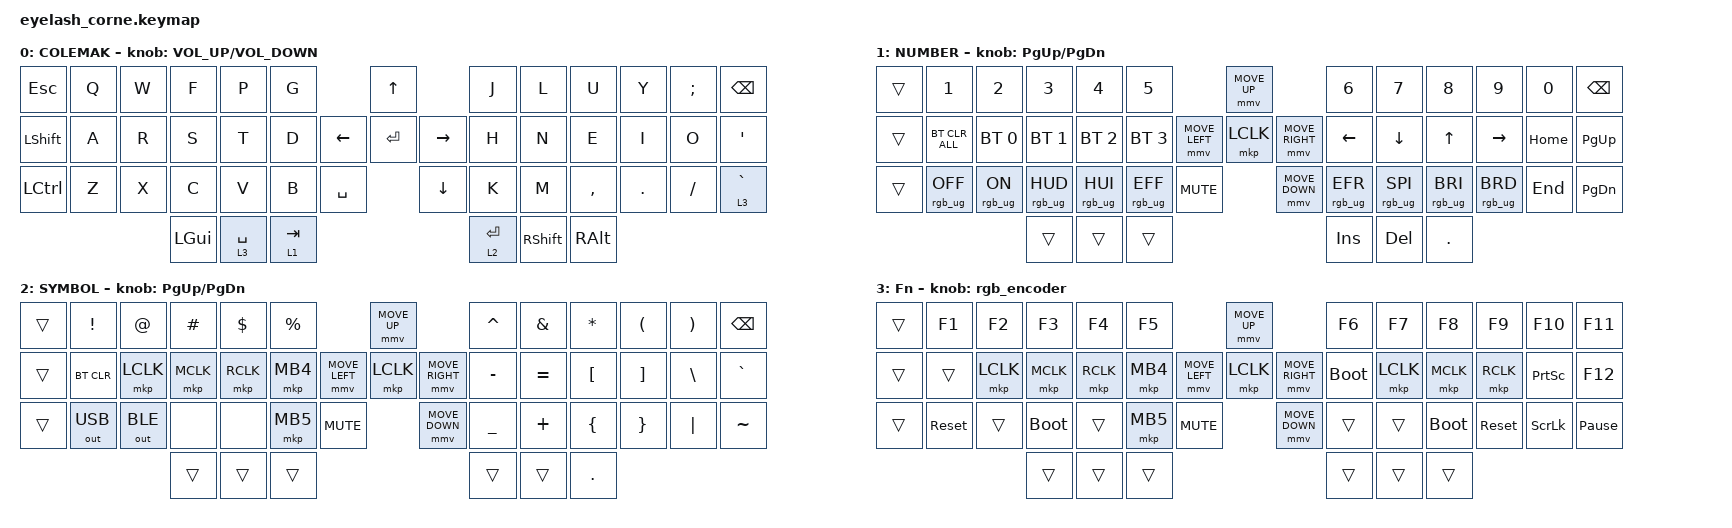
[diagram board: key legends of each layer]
#include <dt-bindings/zmk/mouse.h>
#include <input/processors.dtsi>
#include <behaviors.dtsi>
#include <dt-bindings/zmk/bt.h>
#include <dt-bindings/zmk/keys.h>
#include <dt-bindings/zmk/outputs.h>
#include <dt-bindings/zmk/pointing.h>
#include <dt-bindings/zmk/pointing.h>
#include <dt-bindings/zmk/pointing.h>
#include <dt-bindings/zmk/rgb.h>

/*

   &mmv_input_listener {
       input-processors = <&zip_xy_scaler 2 1>;
   };

   &msc_input_listener {
       input-processors = <&zip_xy_scaler 2 1>;
   };

 */

#define ZMK_MOUSE_DEFAULT_MOVE_VAL 1200  // 600
#define ZMK_MOUSE_DEFAULT_SCRL_VAL 20    // 10

/ {
    behaviors {
        td0: td0 {
            compatible = "zmk,behavior-tap-dance";
            display-name = "Shift/Caps Lock Tap Dance";
            #binding-cells = <0>;
            bindings = <&kp LEFT_SHIFT>, <&kp CAPS>;
        };
    };

    rgb_encoder: rgb_encoder {
        compatible = "zmk,behavior-sensor-rotate";
        #sensor-binding-cells = <0>;
        bindings = <&rgb_ug RGB_BRI>, <&rgb_ug RGB_BRD>;
    };

    scroll_encoder: scroll_encoder {
        compatible = "zmk,behavior-sensor-rotate";
        #sensor-binding-cells = <0>;
        bindings = <&msc SCRL_DOWN>, <&msc SCRL_UP>;

        tap-ms = <30>;
    };

    keymap {
        compatible = "zmk,keymap";

        default_layer {
            display-name = "COLEMAK";
            bindings = <
&kp ESCAPE      &kp Q  &kp W  &kp F     &kp P        &kp G                             &kp UP                &kp J        &kp L            &kp U      &kp Y    &kp SEMI  &kp BSPC
&kp LEFT_SHIFT  &kp A  &kp R  &kp S     &kp T        &kp D                   &kp LEFT  &kp ENTER  &kp RIGHT  &kp H        &kp N            &kp E      &kp I    &kp O     &kp SQT
&kp LCTRL       &kp Z  &kp X  &kp C     &kp V        &kp B      &kp SPACE              &kp DOWN              &kp K        &kp M            &kp COMMA  &kp DOT  &kp FSLH  &lt 3 GRAVE
                              &kp LGUI  &lt 3 SPACE  &lt 1 TAB                                               &lt 2 ENTER  &kp RIGHT_SHIFT  &kp RALT
            >;

            sensor-bindings = <&inc_dec_kp C_VOLUME_UP C_VOLUME_DOWN>;
        };

        lower_layer {
            display-name = "NUMBER";
            bindings = <
&trans  &kp N1           &kp N2          &kp N3           &kp N4           &kp N5                                         &mmv MOVE_UP                     &kp N6           &kp N7           &kp N8           &kp N9           &kp N0    &kp BSPC
&trans  &bt BT_CLR_ALL   &bt BT_SEL 0    &bt BT_SEL 1     &bt BT_SEL 2     &bt BT_SEL 3                   &mmv MOVE_LEFT  &mkp LCLK       &mmv MOVE_RIGHT  &kp LEFT         &kp DOWN         &kp UP           &kp RIGHT        &kp HOME  &kp PG_UP
&trans  &rgb_ug RGB_OFF  &rgb_ug RGB_ON  &rgb_ug RGB_HUD  &rgb_ug RGB_HUI  &rgb_ug RGB_EFF  &kp C_MUTE                    &mmv MOVE_DOWN                   &rgb_ug RGB_EFR  &rgb_ug RGB_SPI  &rgb_ug RGB_BRI  &rgb_ug RGB_BRD  &kp END   &kp PG_DN
                                         &trans           &trans           &trans                                                                          &kp INS          &kp DEL          &kp PERIOD
            >;

            sensor-bindings = <&inc_dec_kp PG_UP PG_DN>;
        };

        raise_layer {
            display-name = "SYMBOL";
            bindings = <
&trans  &kp EXCL      &kp AT        &kp HASH   &kp DLLR   &kp PRCNT                                &mmv MOVE_UP                     &kp CARET  &kp AMPS   &kp ASTRK   &kp LPAR  &kp RPAR  &kp BSPC
&trans  &bt BT_CLR    &mkp LCLK     &mkp MCLK  &mkp RCLK  &mkp MB4                 &mmv MOVE_LEFT  &mkp LCLK       &mmv MOVE_RIGHT  &kp MINUS  &kp EQUAL  &kp LBKT    &kp RBKT  &kp BSLH  &kp GRAVE
&trans  &out OUT_USB  &out OUT_BLE  &none      &none      &mkp MB5   &kp C_MUTE                    &mmv MOVE_DOWN                   &kp UNDER  &kp PLUS   &kp LBRC    &kp RBRC  &kp PIPE  &kp TILDE
                                    &trans     &trans     &trans                                                                    &trans     &trans     &kp PERIOD
            >;

            sensor-bindings = <&inc_dec_kp PG_UP PG_DN>;
        };

        layer_3 {
            display-name = "Fn";
            bindings = <
&trans  &kp F1      &kp F2     &kp F3       &kp F4     &kp F5                                  &mmv MOVE_UP                     &kp F6       &kp F7     &kp F8       &kp F9      &kp F10          &kp F11
&trans  &trans      &mkp LCLK  &mkp MCLK    &mkp RCLK  &mkp MB4                &mmv MOVE_LEFT  &mkp LCLK       &mmv MOVE_RIGHT  &bootloader  &mkp LCLK  &mkp MCLK    &mkp RCLK   &kp PRINTSCREEN  &kp F12
&trans  &sys_reset  &trans     &bootloader  &trans     &mkp MB5  &kp C_MUTE                    &mmv MOVE_DOWN                   &trans       &trans     &bootloader  &sys_reset  &kp SCROLLLOCK   &kp PAUSE_BREAK
                               &trans       &trans     &trans                                                                   &trans       &trans     &trans
            >;

            sensor-bindings = <&rgb_encoder>;
        };
    };
};
